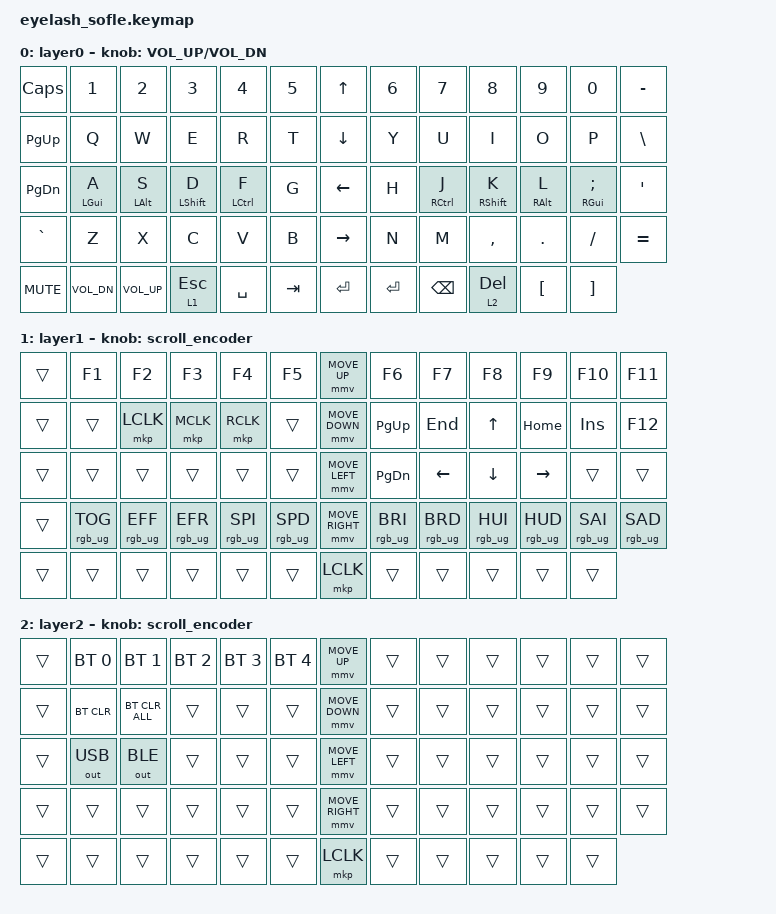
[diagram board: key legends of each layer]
#define ZMK_POINTING_DEFAULT_MOVE_VAL 1200  // 600
#define ZMK_POINTING_DEFAULT_SCRL_VAL 25   // 10

#include <input/processors.dtsi>
#include <zephyr/dt-bindings/input/input-event-codes.h>
#include <behaviors.dtsi>
#include <dt-bindings/zmk/bt.h>
#include <dt-bindings/zmk/ext_power.h>
#include <dt-bindings/zmk/keys.h>
#include <dt-bindings/zmk/pointing.h>
#include <dt-bindings/zmk/rgb.h>
#include <dt-bindings/zmk/outputs.h>

&mmv_input_listener { input-processors = <&zip_xy_scaler 2 1>; };

&msc_input_listener { input-processors = <&zip_scroll_scaler 2 1>; };

&msc {
    acceleration-exponent = <1>;      // 0
    time-to-max-speed-ms = <100>;       // 300
    delay-ms = <0>;                   // 0
};

&mmv {
    time-to-max-speed-ms = <500>;
    acceleration-exponent = <1>;
    trigger-period-ms = <16>;
};

/ {
    behaviors {
        hrm: home_row_mod {
            compatible = "zmk,behavior-hold-tap";
            label = "HOME_ROW_MOD";
            #binding-cells = <2>;
            flavor = "tap-preferred";
            tapping-term-ms = <200>;
            quick-tap-ms = <175>;
            require-prior-idle-ms = <150>;
            global-quick-tap;
            bindings = <&kp>, <&kp>;
        };        
    };

    scroll_encoder: scroll_encoder {
        compatible = "zmk,behavior-sensor-rotate";
        #sensor-binding-cells = <0>;
        bindings = <&msc SCRL_DOWN>, <&msc SCRL_UP>;
        tap-ms = <100>;
    };

    keymap {
        compatible = "zmk,keymap";

        layer0 {
            bindings = <
&kp CAPS    &kp N1         &kp N2        &kp N3          &kp N4        &kp N5       &kp UP_ARROW     &kp N6          &kp N7          &kp N8         &kp N9       &kp N0          &kp MINUS
&kp PG_UP   &kp Q          &kp W         &kp E           &kp R         &kp T        &kp DOWN_ARROW   &kp Y           &kp U           &kp I          &kp O        &kp P           &kp BSLH
&kp PG_DN   &hrm LGUI A    &hrm LALT S   &hrm LSHIFT D   &hrm LCTRL F  &kp G        &kp LEFT_ARROW   &kp H           &hrm RCTRL J    &hrm RSHIFT K  &hrm RALT L   &hrm RGUI SEMI   &kp APOS
&kp GRAVE   &kp Z          &kp X         &kp C           &kp V         &kp B        &kp RIGHT_ARROW  &kp N           &kp M           &kp COMMA      &kp DOT      &kp FSLH        &kp EQUAL
&kp C_MUTE  &kp C_VOL_DN   &kp C_VOL_UP  &lt 1 ESC       &kp SPACE     &kp TAB      &kp ENTER        &kp ENTER       &kp BACKSPACE   &lt 2 DELETE   &kp LBKT     &kp RBKT
            >;

            sensor-bindings = <&inc_dec_kp C_VOLUME_UP C_VOL_DN>;
            display-name = "layer0";
        };

        layer_1 {
            bindings = <
&trans   &kp F1            &kp F2          &kp F3           &kp F4           &kp F5            &mmv MOVE_UP     &kp F6           &kp F7           &kp F8            &kp F9            &kp F10           &kp F11
&trans   &trans            &mkp LCLK       &mkp MCLK        &mkp RCLK        &trans            &mmv MOVE_DOWN   &kp PG_UP        &kp END          &kp UP            &kp HOME          &kp INSERT        &kp F12
&trans   &trans            &trans          &trans           &trans           &trans            &mmv MOVE_LEFT   &kp PG_DN        &kp LEFT         &kp DOWN          &kp RIGHT         &trans            &trans
&trans   &rgb_ug RGB_TOG   &rgb_ug RGB_EFF &rgb_ug RGB_EFR  &rgb_ug RGB_SPI  &rgb_ug RGB_SPD   &mmv MOVE_RIGHT  &rgb_ug RGB_BRI  &rgb_ug RGB_BRD  &rgb_ug RGB_HUI   &rgb_ug RGB_HUD   &rgb_ug RGB_SAI   &rgb_ug RGB_SAD
&trans   &trans            &trans          &trans           &trans           &trans            &mkp LCLK        &trans           &trans           &trans            &trans            &trans
            >;

            sensor-bindings = <&scroll_encoder>;
            display-name = "layer1";
        };

        layer_2 {
            bindings = <
&trans   &bt BT_SEL 0   &bt BT_SEL 1    &bt BT_SEL 2  &bt BT_SEL 3  &bt BT_SEL 4    &mmv MOVE_UP     &trans  &trans  &trans   &trans   &trans   &trans
&trans   &bt BT_CLR     &bt BT_CLR_ALL  &trans        &trans        &trans          &mmv MOVE_DOWN   &trans  &trans  &trans   &trans   &trans   &trans
&trans   &out OUT_USB   &out OUT_BLE    &trans        &trans        &trans          &mmv MOVE_LEFT   &trans  &trans  &trans   &trans   &trans   &trans
&trans   &trans         &trans          &trans        &trans        &trans          &mmv MOVE_RIGHT  &trans  &trans  &trans   &trans   &trans   &trans
&trans   &trans         &trans          &trans        &trans        &trans          &mkp LCLK        &trans  &trans  &trans   &trans   &trans
            >;

            sensor-bindings = <&scroll_encoder>;
            display-name = "layer2";
        };

    };
};
